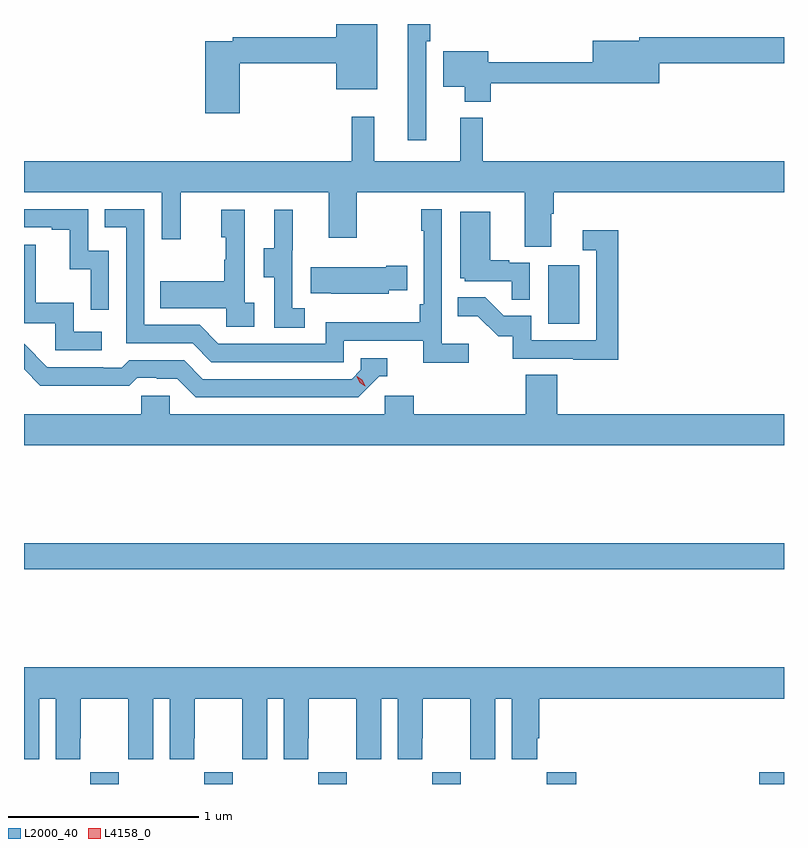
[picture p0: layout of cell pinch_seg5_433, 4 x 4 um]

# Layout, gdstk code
import gdstk
lib = gdstk.Library(unit=1e-6, precision=1e-09)
def R(c, l, rs):  # rectangles x0, y0, x1, y1
    for r in rs: c.add(gdstk.rectangle(r[:2], r[2:], *l))
def A(c, l, x, y, w, h, nx, ny, dx, dy):  # array of equal rectangles
    R(c, l, [(x+i*dx, y+j*dy, x+i*dx+w, y+j*dy+h) for i in range(nx) for j in range(ny)])
def P(c, l, *ps):  # polygons
    for p in ps: c.add(gdstk.Polygon(p, *l))
L2000_40 = (2000, 40)
L4158_0 = (4158, 0)

pinch_seg5_433 = lib.new_cell('pinch_seg5_433')
A(pinch_seg5_433, L2000_40, 936.621, 864.302, 0.15, 0.062, 4, 1, 0.6, 0)
R(pinch_seg5_433, L2000_40, [(939.025,864.302,939.179,864.364), (940.142,864.302,940.273,864.364), (936.273,865.432,940.273,865.568), (939.032,866.724,939.196,867.031)])
P(pinch_seg5_433, L2000_40, [(937.409,868.096),(937.916,868.096),(937.916,867.959),(938.131,867.959),(938.131,868.302),(937.916,868.302),(937.916,868.232),(937.372,868.232),(937.372,868.212),(937.226,868.212),(937.226,867.831),(937.409,867.831)],
  [(938.391,868.211),(938.411,868.211),(938.411,868.302),(938.294,868.302),(938.294,867.69),(938.391,867.69)],
  [(938.729,867.99),(939.34,867.99),(939.34,867.989),(939.616,867.989),(939.616,868.096),(940.273,868.096),(940.273,868.232),(939.512,868.232),(939.512,868.213),(939.266,868.213),(939.266,868.101),(938.716,868.101),(938.716,868.159),(938.48,868.159),(938.48,867.971),(938.594,867.971),(938.594,867.893),(938.729,867.893)],
  [(936.273,867.416),(936.999,867.416),(936.999,867.168),(937.097,867.168),(937.097,867.416),(937.877,867.416),(937.877,867.177),(938.025,867.177),(938.025,867.416),(938.909,867.416),(938.909,867.13),(939.049,867.13),(939.049,867.304),(939.062,867.304),(939.062,867.416),(940.273,867.416),(940.273,867.58),(938.687,867.58),(938.687,867.808),(938.57,867.808),(938.57,867.58),(938.117,867.58),(938.117,867.814),(937.999,867.814),(937.999,867.58),(936.273,867.58)],
  [(938.614,866.62),(938.472,866.62),(938.472,867.328),(938.364,867.328),(938.364,867.215),(938.376,867.215),(938.376,866.827),(938.356,866.827),(938.356,866.731),(937.86,866.731),(937.86,866.619),(937.296,866.619),(937.197,866.718),(936.906,866.718),(936.906,867.327),(936.697,867.327),(936.697,867.231),(936.81,867.231),(936.81,866.622),(937.16,866.622),(937.259,866.523),(937.956,866.523),(937.956,866.634),(938.375,866.634),(938.375,866.518),(938.614,866.518)],
  [(936.72,867.108),(936.612,867.108),(936.612,867.327),(936.273,867.327),(936.273,867.231),(936.419,867.231),(936.419,867.219),(936.515,867.219),(936.515,867.011),(936.624,867.011),(936.624,866.799),(936.72,866.799)],
  [(937.75,866.807),(937.686,866.807),(937.686,867.111),(937.688,867.111),(937.688,867.325),(937.589,867.325),(937.589,867.123),(937.535,867.123),(937.535,866.968),(937.59,866.968),(937.59,866.704),(937.75,866.704)],
  [(937.486,866.834),(937.434,866.834),(937.434,867.325),(937.31,867.325),(937.31,867.18),(937.336,867.18),(937.336,867.062),(937.326,867.062),(937.326,866.947),(936.991,866.947),(936.991,866.807),(937.338,866.807),(937.338,866.709),(937.486,866.709)],
  [(938.934,867.045),(938.828,867.045),(938.828,867.058),(938.728,867.058),(938.728,867.313),(938.57,867.313),(938.57,866.964),(938.592,866.964),(938.592,866.949),(938.839,866.949),(938.839,866.851),(938.934,866.851)],
  [(939.401,867.217),(939.213,867.217),(939.213,867.111),(939.285,867.111),(939.285,866.637),(938.943,866.637),(938.943,866.766),(938.799,866.766),(938.701,866.864),(938.557,866.864),(938.557,866.765),(938.661,866.765),(938.768,866.658),(938.845,866.658),(938.845,866.541),(939.163,866.541),(939.163,866.536),(939.401,866.536)],
  [(936.682,866.682),(936.534,866.682),(936.534,866.836),(936.335,866.836),(936.335,867.139),(936.273,867.139),(936.273,866.727),(936.438,866.727),(936.438,866.586),(936.682,866.586)],
  [(938.193,866.9),(938.291,866.9),(938.291,867.03),(938.18,867.03),(938.18,867.022),(937.783,867.022),(937.783,866.885),(937.891,866.885),(937.891,866.882),(938.193,866.882)],
  [(938.142,866.448),(938.185,866.448),(938.185,866.544),(938.046,866.544),(938.046,866.481),(937.998,866.433),(937.215,866.433),(937.116,866.532),(936.827,866.532),(936.788,866.493),(936.689,866.493),(936.689,866.496),(936.396,866.496),(936.273,866.619),(936.273,866.484),(936.358,866.399),(936.594,866.399),(936.594,866.397),(936.827,866.397),(936.869,866.439),(936.972,866.439),(936.972,866.436),(937.079,866.436),(937.178,866.337),(938.031,866.337)],
  [(940.273,866.248),(939.08,866.248),(939.08,866.456),(938.915,866.456),(938.915,866.248),(938.324,866.248),(938.324,866.346),(938.172,866.346),(938.172,866.248),(937.041,866.248),(937.041,866.346),(936.891,866.346),(936.891,866.248),(936.273,866.248),(936.273,866.084),(940.273,866.084)],
  [(936.273,864.432),(936.352,864.432),(936.352,864.752),(936.44,864.752),(936.44,864.432),(936.57,864.432),(936.57,864.544),(936.571,864.544),(936.571,864.752),(936.821,864.752),(936.821,864.544),(936.822,864.544),(936.822,864.432),(936.952,864.432),(936.952,864.752),(937.04,864.752),(937.04,864.432),(937.17,864.432),(937.17,864.544),(937.171,864.544),(937.171,864.752),(937.421,864.752),(937.421,864.544),(937.422,864.544),(937.422,864.432),(937.552,864.432),(937.552,864.752),(937.64,864.752),(937.64,864.432),(937.77,864.432),(937.77,864.544),(937.771,864.544),(937.771,864.752),(938.021,864.752),(938.021,864.544),(938.022,864.544),(938.022,864.432),(938.152,864.432),(938.152,864.752),(938.24,864.752),(938.24,864.432),(938.37,864.432),(938.37,864.544),(938.371,864.544),(938.371,864.752),(938.621,864.752),(938.621,864.544),(938.622,864.544),(938.622,864.432),(938.752,864.432),(938.752,864.752),(938.84,864.752),(938.84,864.432),(938.974,864.432),(938.974,864.544),(938.984,864.544),(938.984,864.752),(940.273,864.752),(940.273,864.916),(936.273,864.916)])
P(pinch_seg5_433, L4158_0, [(938.07,866.396),(938.039,866.415),(938.023,866.448),(938.023,866.448),(938.024,866.448),(938.054,866.429),(938.07,866.396),(938.07,866.396)])

lib.write_gds('pinch_seg5_433.gds')
